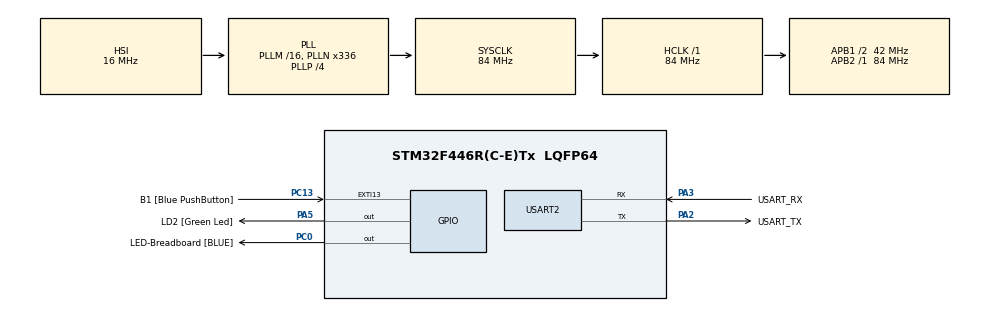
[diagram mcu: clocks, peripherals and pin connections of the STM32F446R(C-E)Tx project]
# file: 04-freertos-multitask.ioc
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FREERTOS.Tasks01=defaultTask,24,128,StartDefaultTask,Default,NULL,Dynamic,NULL,NULL
FREERTOS.configUSE_NEWLIB_REENTRANT=1
Mcu.Family=STM32F4
Mcu.Name=STM32F446R(C-E)Tx
Mcu.Package=LQFP64
NVIC.PriorityGroup=NVIC_PRIORITYGROUP_4
NVIC.TIM1_UP_TIM10_IRQn=true\:15\:0\:false\:false\:true\:false\:false\:true\:true
NVIC.TimeBase=TIM1_UP_TIM10_IRQn
NVIC.TimeBaseIP=TIM1
PA13.GPIO_Label=TMS
PA13.Mode=Serial_Wire
PA13.Signal=SYS_JTMS-SWDIO
PA14.GPIO_Label=TCK
PA14.Mode=Serial_Wire
PA14.Signal=SYS_JTCK-SWCLK
PA2.GPIO_Label=USART_TX
PA2.Mode=Asynchronous
PA2.Signal=USART2_TX
PA3.GPIO_Label=USART_RX
PA3.Mode=Asynchronous
PA3.Signal=USART2_RX
PA5.GPIO_Label=LD2 [Green Led]
PA5.Signal=GPIO_Output
PB3.GPIO_Label=SWO
PB3.Signal=SYS_JTDO-SWO
PC0.GPIO_Label=LED-Breadboard [BLUE]
PC0.Signal=GPIO_Output
PC13.GPIO_Label=B1 [Blue PushButton]
PC13.GPIO_ModeDefaultEXTI=GPIO_MODE_IT_FALLING
PC13.Signal=GPXTI13
PC14-OSC32_IN.Mode=LSE-External-Oscillator
PC14-OSC32_IN.Signal=RCC_OSC32_IN
PC15-OSC32_OUT.Mode=LSE-External-Oscillator
PC15-OSC32_OUT.Signal=RCC_OSC32_OUT
PH0-OSC_IN.Mode=HSE-External-Oscillator
PH0-OSC_IN.Signal=RCC_OSC_IN
PH1-OSC_OUT.Mode=HSE-External-Oscillator
PH1-OSC_OUT.Signal=RCC_OSC_OUT
ProjectManager.HeapSize=0x200
ProjectManager.StackSize=0x400
ProjectManager.TargetToolchain=STM32CubeIDE
RCC.48MHZClocksFreq_Value=84000000
RCC.AHBFreq_Value=84000000
RCC.APB1CLKDivider=RCC_HCLK_DIV2
RCC.APB1Freq_Value=42000000
RCC.APB1TimFreq_Value=84000000
RCC.APB2Freq_Value=84000000
RCC.APB2TimFreq_Value=84000000
RCC.CortexFreq_Value=84000000
RCC.FLatency-AdvancedSettings=FLASH_LATENCY_2
RCC.HCLKFreq_Value=84000000
RCC.HSE_VALUE=8000000
RCC.HSI_VALUE=16000000
RCC.PLLN=336
RCC.PLLP=RCC_PLLP_DIV4
RCC.SYSCLKFreq_VALUE=84000000
RCC.SYSCLKSource=RCC_SYSCLKSOURCE_PLLCLK
RCC.USBFreq_Value=168000000
RCC.VCOOutputFreq_Value=336000000
USART2.VirtualMode=VM_ASYNC
VP_FREERTOS_VS_CMSIS_V2.Mode=CMSIS_V2
VP_SYS_VS_tim1.Mode=TIM1
board=NUCLEO-F446RE

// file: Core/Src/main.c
/* USER CODE BEGIN Header */
/**
  ******************************************************************************
  * @file           : main.c
  * @brief          : Main program body
  ******************************************************************************
  * @attention
  *
  * Copyright (c) 2026 STMicroelectronics.
  * All rights reserved.
  *
  * This software is licensed under terms that can be found in the LICENSE file
  * in the root directory of this software component.
  * If no LICENSE file comes with this software, it is provided AS-IS.
  *
  ******************************************************************************
  */
/* USER CODE END Header */
#include "main.h"
#include "cmsis_os.h"

UART_HandleTypeDef huart2;

/* Definitions for defaultTask */

/*
osThreadId_t defaultTaskHandle;
const osThreadAttr_t defaultTask_attributes = {
  .name = "defaultTask",
  .stack_size = 128 * 4,
  .priority = (osPriority_t) osPriorityNormal,
};
*/

/* USER CODE BEGIN PV */
osThreadId_t fastBlinkHandle;
osThreadId_t slowBlinkHandle;

const osThreadAttr_t fastBlink_attributes = {
		.name = "fastBlink",
		.stack_size = 128*4,
		.priority = (osPriority_t) osPriorityNormal,
};

const osThreadAttr_t slowBlink_attributes = {
		.name = "slowBlink",
		.stack_size = 128*4,
		.priority = (osPriority_t) osPriorityNormal,
};
/* USER CODE END PV */

void SystemClock_Config(void);
static void MX_GPIO_Init(void);
static void MX_USART2_UART_Init(void);
//void StartDefaultTask(void *argument);

/* USER CODE BEGIN PFP */
void StartFastBlink(void *argument);
void StartSlowBlink(void *argument);
/* USER CODE END PFP */

int main(void)
{

  /* MCU Configuration--------------------------------------------------------*/

  /* Reset of all peripherals, Initializes the Flash interface and the Systick. */
  HAL_Init();

  /* Configure the system clock */
  SystemClock_Config();

  /* Initialize all configured peripherals */
  MX_GPIO_Init();
  MX_USART2_UART_Init();

  /* Init scheduler */
  osKernelInitialize();

  /* Create the thread(s) */
  /* creation of defaultTask */
//  defaultTaskHandle = osThreadNew(StartDefaultTask, NULL, &defaultTask_attributes);

  /* USER CODE BEGIN RTOS_THREADS */
  /* add threads, ... */
  fastBlinkHandle = osThreadNew(StartFastBlink, NULL, &fastBlink_attributes);
  slowBlinkHandle = osThreadNew(StartSlowBlink, NULL, &slowBlink_attributes);
  /* USER CODE END RTOS_THREADS */

  /* Start scheduler */
  osKernelStart();

  /* We should never get here as control is now taken by the scheduler */

  /* Infinite loop */
  while (1)
  {

  }
}

void SystemClock_Config(void)
{
  RCC_OscInitTypeDef RCC_OscInitStruct = {0};
  RCC_ClkInitTypeDef RCC_ClkInitStruct = {0};

  /** Configure the main internal regulator output voltage
  */
  __HAL_RCC_PWR_CLK_ENABLE();
  __HAL_PWR_VOLTAGESCALING_CONFIG(PWR_REGULATOR_VOLTAGE_SCALE3);

  /** Initializes the RCC Oscillators according to the specified parameters
  * in the RCC_OscInitTypeDef structure.
  */
  RCC_OscInitStruct.OscillatorType = RCC_OSCILLATORTYPE_HSI;
  RCC_OscInitStruct.HSIState = RCC_HSI_ON;
  RCC_OscInitStruct.HSICalibrationValue = RCC_HSICALIBRATION_DEFAULT;
  RCC_OscInitStruct.PLL.PLLState = RCC_PLL_ON;
  RCC_OscInitStruct.PLL.PLLSource = RCC_PLLSOURCE_HSI;
  RCC_OscInitStruct.PLL.PLLM = 16;
  RCC_OscInitStruct.PLL.PLLN = 336;
  RCC_OscInitStruct.PLL.PLLP = RCC_PLLP_DIV4;
  RCC_OscInitStruct.PLL.PLLQ = 2;
  RCC_OscInitStruct.PLL.PLLR = 2;
  if (HAL_RCC_OscConfig(&RCC_OscInitStruct) != HAL_OK)
  {
    Error_Handler();
  }

  /** Initializes the CPU, AHB and APB buses clocks
  */
  RCC_ClkInitStruct.ClockType = RCC_CLOCKTYPE_HCLK|RCC_CLOCKTYPE_SYSCLK
                              |RCC_CLOCKTYPE_PCLK1|RCC_CLOCKTYPE_PCLK2;
  RCC_ClkInitStruct.SYSCLKSource = RCC_SYSCLKSOURCE_PLLCLK;
  RCC_ClkInitStruct.AHBCLKDivider = RCC_SYSCLK_DIV1;
  RCC_ClkInitStruct.APB1CLKDivider = RCC_HCLK_DIV2;
  RCC_ClkInitStruct.APB2CLKDivider = RCC_HCLK_DIV1;

  if (HAL_RCC_ClockConfig(&RCC_ClkInitStruct, FLASH_LATENCY_2) != HAL_OK)
  {
    Error_Handler();
  }
}

static void MX_USART2_UART_Init(void)
{

  huart2.Instance = USART2;
  huart2.Init.BaudRate = 115200;
  huart2.Init.WordLength = UART_WORDLENGTH_8B;
  huart2.Init.StopBits = UART_STOPBITS_1;
  huart2.Init.Parity = UART_PARITY_NONE;
  huart2.Init.Mode = UART_MODE_TX_RX;
  huart2.Init.HwFlowCtl = UART_HWCONTROL_NONE;
  huart2.Init.OverSampling = UART_OVERSAMPLING_16;
  if (HAL_UART_Init(&huart2) != HAL_OK)
  {
    Error_Handler();
  }

}

static void MX_GPIO_Init(void)
{
  GPIO_InitTypeDef GPIO_InitStruct = {0};

  /* GPIO Ports Clock Enable */
  __HAL_RCC_GPIOC_CLK_ENABLE();
  __HAL_RCC_GPIOH_CLK_ENABLE();
  __HAL_RCC_GPIOA_CLK_ENABLE();
  __HAL_RCC_GPIOB_CLK_ENABLE();

  /*Configure GPIO pin Output Level */
  HAL_GPIO_WritePin(LED_Breadboard_GPIO_Port, LED_Breadboard_Pin, GPIO_PIN_RESET);

  /*Configure GPIO pin Output Level */
  HAL_GPIO_WritePin(LD2_GPIO_Port, LD2_Pin, GPIO_PIN_RESET);

  /*Configure GPIO pin : B1_Pin */
  GPIO_InitStruct.Pin = B1_Pin;
  GPIO_InitStruct.Mode = GPIO_MODE_IT_FALLING;
  GPIO_InitStruct.Pull = GPIO_NOPULL;
  HAL_GPIO_Init(B1_GPIO_Port, &GPIO_InitStruct);

  /*Configure GPIO pin : LED_Breadboard_Pin */
  GPIO_InitStruct.Pin = LED_Breadboard_Pin;
  GPIO_InitStruct.Mode = GPIO_MODE_OUTPUT_PP;
  GPIO_InitStruct.Pull = GPIO_NOPULL;
  GPIO_InitStruct.Speed = GPIO_SPEED_FREQ_LOW;
  HAL_GPIO_Init(LED_Breadboard_GPIO_Port, &GPIO_InitStruct);

  /*Configure GPIO pin : LD2_Pin */
  GPIO_InitStruct.Pin = LD2_Pin;
  GPIO_InitStruct.Mode = GPIO_MODE_OUTPUT_PP;
  GPIO_InitStruct.Pull = GPIO_NOPULL;
  GPIO_InitStruct.Speed = GPIO_SPEED_FREQ_LOW;
  HAL_GPIO_Init(LD2_GPIO_Port, &GPIO_InitStruct);

}

/* USER CODE BEGIN 4 */
void StartFastBlink(void *argument) {
	for (;;) {
		HAL_GPIO_TogglePin(LED_Breadboard_GPIO_Port, LED_Breadboard_Pin);
		osDelay(200);
	}
}

void StartSlowBlink(void *argument) {
	for (;;) {
		HAL_GPIO_TogglePin(LD2_GPIO_Port, LD2_Pin);
		osDelay(1000);
	}
}

/* USER CODE END 4 */

//void StartDefaultTask(void *argument)
//{
//  /* USER CODE BEGIN 5 */
//  /* Infinite loop */
//  for(;;)
//  {
//    osDelay(1);
//  }
//  /* USER CODE END 5 */
//}

void HAL_TIM_PeriodElapsedCallback(TIM_HandleTypeDef *htim)
{
  if (htim->Instance == TIM1)
  {
    HAL_IncTick();
  }
}

void Error_Handler(void)
{
  __disable_irq();
  while (1)
  {
  }
}
